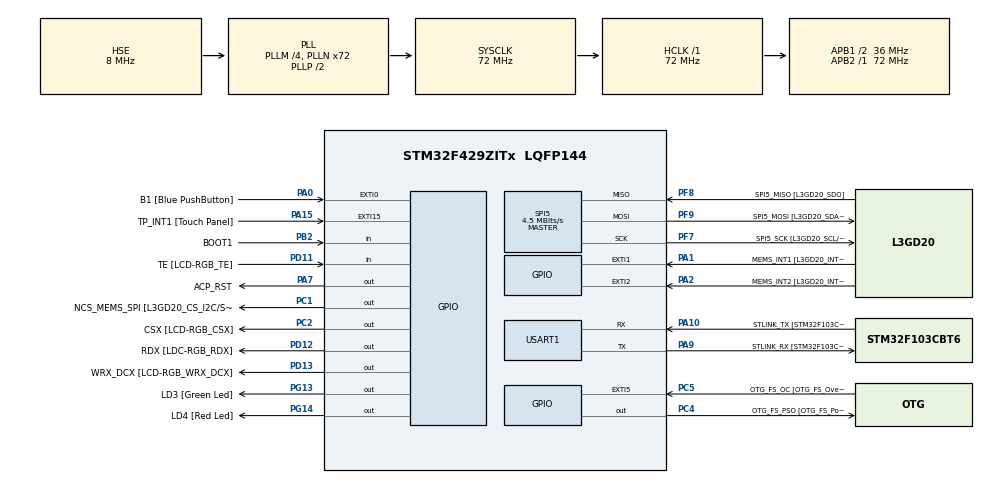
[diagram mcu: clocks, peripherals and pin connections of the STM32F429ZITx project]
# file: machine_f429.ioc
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Mcu.Family=STM32F4
Mcu.Name=STM32F429ZITx
Mcu.Package=LQFP144
NVIC.PriorityGroup=NVIC_PRIORITYGROUP_4
NVIC.USART1_IRQn=true\:0\:0\:false\:false\:true\:true\:true\:true
PA0/WKUP.GPIO_Label=B1 [Blue PushButton]
PA0/WKUP.GPIO_ModeDefaultEXTI=GPIO_MODE_EVT_RISING
PA0/WKUP.GPIO_PuPd=GPIO_NOPULL
PA0/WKUP.Signal=GPXTI0
PA1.GPIO_Label=MEMS_INT1 [L3GD20_INT1]
PA1.GPIO_ModeDefaultEXTI=GPIO_MODE_EVT_RISING
PA1.GPIO_PuPd=GPIO_NOPULL
PA1.Signal=GPXTI1
PA10.GPIO_Label=STLINK_TX [STM32F103CBT6_PA2]
PA10.Mode=Asynchronous
PA10.Signal=USART1_RX
PA11.GPIO_Label=R4
PA11.GPIO_Mode=GPIO_MODE_AF_PP
PA11.GPIO_PuPd=GPIO_NOPULL
PA11.GPIO_Speed=GPIO_SPEED_FREQ_LOW
PA11.Signal=LTDC_R4
PA12.GPIO_Label=R5
PA12.GPIO_Mode=GPIO_MODE_AF_PP
PA12.GPIO_PuPd=GPIO_NOPULL
PA12.GPIO_Speed=GPIO_SPEED_FREQ_LOW
PA12.Signal=LTDC_R5
PA13.GPIO_Label=SWDIO
PA13.Mode=Serial_Wire
PA13.Signal=SYS_JTMS-SWDIO
PA14.GPIO_Label=SWCLK
PA14.Mode=Serial_Wire
PA14.Signal=SYS_JTCK-SWCLK
PA15.GPIO_Label=TP_INT1 [Touch Panel]
PA15.GPIO_ModeDefaultEXTI=GPIO_MODE_EVT_RISING
PA15.GPIO_PuPd=GPIO_NOPULL
PA15.Signal=GPXTI15
PA2.GPIO_Label=MEMS_INT2 [L3GD20_INT2]
PA2.GPIO_ModeDefaultEXTI=GPIO_MODE_EVT_RISING
PA2.GPIO_PuPd=GPIO_NOPULL
PA2.Signal=GPXTI2
PA3.GPIO_Label=B5
PA3.GPIO_Mode=GPIO_MODE_AF_PP
PA3.GPIO_PuPd=GPIO_NOPULL
PA3.GPIO_Speed=GPIO_SPEED_FREQ_LOW
PA3.Signal=LTDC_B5
PA4.GPIO_Label=VSYNC
PA4.GPIO_Mode=GPIO_MODE_AF_PP
PA4.GPIO_PuPd=GPIO_NOPULL
PA4.GPIO_Speed=GPIO_SPEED_FREQ_LOW
PA4.Signal=LTDC_VSYNC
PA6.GPIO_Label=G2
PA6.GPIO_Mode=GPIO_MODE_AF_PP
PA6.GPIO_PuPd=GPIO_NOPULL
PA6.GPIO_Speed=GPIO_SPEED_FREQ_LOW
PA6.Signal=LTDC_G2
PA7.GPIO_Label=ACP_RST
PA7.GPIO_Mode=GPIO_MODE_OUTPUT_PP
PA7.GPIO_PuPd=GPIO_NOPULL
PA7.GPIO_Speed=GPIO_SPEED_FREQ_LOW
PA7.Signal=GPIO_Output
PA8.GPIO_Label=I2C3_SCL [ACP/RF_SCL]
PA8.GPIO_Mode=GPIO_MODE_AF_OD
PA8.GPIO_Pu=GPIO_PULLUP
PA8.GPIO_PuPd=GPIO_NOPULL
PA8.GPIO_Speed=GPIO_SPEED_FREQ_LOW
PA8.Signal=I2C3_SCL
PA9.GPIO_Label=STLINK_RX [STM32F103CBT6_PA3]
PA9.Mode=Asynchronous
PA9.Signal=USART1_TX
PB0.GPIO_Label=R3
PB0.GPIO_Mode=GPIO_MODE_AF_PP
PB0.GPIO_PuPd=GPIO_NOPULL
PB0.GPIO_Speed=GPIO_SPEED_FREQ_LOW
PB0.Signal=LTDC_R3
PB1.GPIO_Label=R6
PB1.GPIO_Mode=GPIO_MODE_AF_PP
PB1.GPIO_PuPd=GPIO_NOPULL
PB1.GPIO_Speed=GPIO_SPEED_FREQ_LOW
PB1.Signal=LTDC_R6
PB10.GPIO_Label=G4
PB10.GPIO_Mode=GPIO_MODE_AF_PP
PB10.GPIO_PuPd=GPIO_NOPULL
PB10.GPIO_Speed=GPIO_SPEED_FREQ_LOW
PB10.Signal=LTDC_G4
PB11.GPIO_Label=G5
PB11.GPIO_Mode=GPIO_MODE_AF_PP
PB11.GPIO_PuPd=GPIO_NOPULL
PB11.GPIO_Speed=GPIO_SPEED_FREQ_LOW
PB11.Signal=LTDC_G5
PB12.GPIO_Label=OTG_HS_ID
PB12.GPIO_Mode=GPIO_MODE_AF_PP
PB12.GPIO_PuPd=GPIO_NOPULL
PB12.GPIO_Speed=GPIO_SPEED_FREQ_LOW
PB12.Signal=USB_OTG_HS_ID
PB13.GPIO_Label=VBUS_HS
PB13.GPIO_Mode=GPIO_MODE_INPUT
PB13.GPIO_PuPd=GPIO_NOPULL
PB13.Signal=USB_OTG_HS_VBUS
PB14.GPIO_Label=OTG_HS_DM
PB14.GPIO_Mode=GPIO_MODE_AF_PP
PB14.GPIO_PuPd=GPIO_NOPULL
PB14.GPIO_Speed=GPIO_SPEED_FREQ_LOW
PB14.Signal=USB_OTG_HS_DM
PB15.GPIO_Label=OTG_HS_DP
PB15.GPIO_Mode=GPIO_MODE_AF_PP
PB15.GPIO_PuPd=GPIO_NOPULL
PB15.GPIO_Speed=GPIO_SPEED_FREQ_LOW
PB15.Signal=USB_OTG_HS_DP
PB2/BOOT1.GPIO_Label=BOOT1
PB2/BOOT1.GPIO_Mode=GPIO_MODE_INPUT
PB2/BOOT1.GPIO_PuPd=GPIO_NOPULL
PB2/BOOT1.Signal=GPIO_Input
PB5.GPIO_Label=SDCKE1
PB5.GPIO_Mode=GPIO_MODE_AF_PP
PB5.GPIO_PuPd=GPIO_NOPULL
PB5.GPIO_Speed=GPIO_SPEED_FREQ_VERY_HIGH
PB5.Signal=FMC_SDCKE1
PB6.GPIO_Label=SDNE1 [SDRAM_CS]
PB6.GPIO_Mode=GPIO_MODE_AF_PP
PB6.GPIO_PuPd=GPIO_NOPULL
PB6.GPIO_Speed=GPIO_SPEED_FREQ_VERY_HIGH
PB6.Signal=FMC_SDNE1
PB8.GPIO_Label=B6
PB8.GPIO_Mode=GPIO_MODE_AF_PP
PB8.GPIO_PuPd=GPIO_NOPULL
PB8.GPIO_Speed=GPIO_SPEED_FREQ_LOW
PB8.Signal=LTDC_B6
PB9.GPIO_Label=B7
PB9.GPIO_Mode=GPIO_MODE_AF_PP
PB9.GPIO_PuPd=GPIO_NOPULL
PB9.GPIO_Speed=GPIO_SPEED_FREQ_LOW
PB9.Signal=LTDC_B7
PC0.GPIO_Label=SDNWE
PC0.GPIO_Mode=GPIO_MODE_AF_PP
PC0.GPIO_PuPd=GPIO_NOPULL
PC0.GPIO_Speed=GPIO_SPEED_FREQ_VERY_HIGH
PC0.Signal=FMC_SDNWE
PC1.GPIO_Label=NCS_MEMS_SPI [L3GD20_CS_I2C/SPI]
PC1.GPIO_Mode=GPIO_MODE_OUTPUT_PP
PC1.GPIO_PuPd=GPIO_NOPULL
PC1.GPIO_Speed=GPIO_SPEED_FREQ_LOW
PC1.Signal=GPIO_Output
PC10.GPIO_Label=R2
PC10.GPIO_Mode=GPIO_MODE_AF_PP
PC10.GPIO_PuPd=GPIO_NOPULL
PC10.GPIO_Speed=GPIO_SPEED_FREQ_LOW
PC10.Signal=LTDC_R2
PC14/OSC32_IN.GPIO_Label=PC14-OSC32_IN
PC14/OSC32_IN.Signal=RCC_OSC32_IN
PC15/OSC32_OUT.GPIO_Label=PC15-OSC32_OUT
PC15/OSC32_OUT.Signal=RCC_OSC32_OUT
PC2.GPIO_Label=CSX [LCD-RGB_CSX]
PC2.GPIO_Mode=GPIO_MODE_OUTPUT_PP
PC2.GPIO_PuPd=GPIO_NOPULL
PC2.GPIO_Speed=GPIO_SPEED_FREQ_LOW
PC2.Signal=GPIO_Output
PC4.GPIO_Label=OTG_FS_PSO [OTG_FS_PowerSwitchOn]
PC4.GPIO_Mode=GPIO_MODE_OUTPUT_PP
PC4.GPIO_PuPd=GPIO_NOPULL
PC4.GPIO_Speed=GPIO_SPEED_FREQ_LOW
PC4.Signal=GPIO_Output
PC5.GPIO_Label=OTG_FS_OC [OTG_FS_OverCurrent]
PC5.GPIO_ModeDefaultEXTI=GPIO_MODE_EVT_RISING
PC5.Signal=GPXTI5
PC6.GPIO_Label=HSYNC
PC6.GPIO_Mode=GPIO_MODE_AF_PP
PC6.GPIO_PuPd=GPIO_NOPULL
PC6.GPIO_Speed=GPIO_SPEED_FREQ_LOW
PC6.Signal=LTDC_HSYNC
PC7.GPIO_Label=G6
PC7.GPIO_Mode=GPIO_MODE_AF_PP
PC7.GPIO_PuPd=GPIO_NOPULL
PC7.GPIO_Speed=GPIO_SPEED_FREQ_LOW
PC7.Signal=LTDC_G6
PC9.GPIO_Label=I2C3_SDA [ACP/RF_SDA]
PC9.GPIO_Mode=GPIO_MODE_AF_OD
PC9.GPIO_Pu=GPIO_PULLUP
PC9.GPIO_PuPd=GPIO_NOPULL
PC9.GPIO_Speed=GPIO_SPEED_FREQ_LOW
PC9.Signal=I2C3_SDA
PD0.GPIO_Label=D2
PD0.GPIO_Mode=GPIO_MODE_AF_PP
PD0.GPIO_PuPd=GPIO_NOPULL
PD0.GPIO_Speed=GPIO_SPEED_FREQ_VERY_HIGH
PD0.Signal=FMC_D2_DA2
PD1.GPIO_Label=D3
PD1.GPIO_Mode=GPIO_MODE_AF_PP
PD1.GPIO_PuPd=GPIO_NOPULL
PD1.GPIO_Speed=GPIO_SPEED_FREQ_VERY_HIGH
PD1.Signal=FMC_D3_DA3
PD10.GPIO_Label=D15
PD10.GPIO_Mode=GPIO_MODE_AF_PP
PD10.GPIO_PuPd=GPIO_NOPULL
PD10.GPIO_Speed=GPIO_SPEED_FREQ_VERY_HIGH
PD10.Signal=FMC_D15_DA15
PD11.GPIO_Label=TE [LCD-RGB_TE]
PD11.GPIO_Mode=GPIO_MODE_INPUT
PD11.GPIO_PuPd=GPIO_NOPULL
PD11.Signal=GPIO_Input
PD12.GPIO_Label=RDX [LDC-RGB_RDX]
PD12.GPIO_Mode=GPIO_MODE_OUTPUT_PP
PD12.GPIO_PuPd=GPIO_NOPULL
PD12.GPIO_Speed=GPIO_SPEED_FREQ_LOW
PD12.Signal=GPIO_Output
PD13.GPIO_Label=WRX_DCX [LCD-RGB_WRX_DCX]
PD13.GPIO_Mode=GPIO_MODE_OUTPUT_PP
PD13.GPIO_PuPd=GPIO_NOPULL
PD13.GPIO_Speed=GPIO_SPEED_FREQ_LOW
PD13.Signal=GPIO_Output
PD14.GPIO_Label=D0
PD14.GPIO_Mode=GPIO_MODE_AF_PP
PD14.GPIO_PuPd=GPIO_NOPULL
PD14.GPIO_Speed=GPIO_SPEED_FREQ_VERY_HIGH
PD14.Signal=FMC_D0_DA0
PD15.GPIO_Label=D1
PD15.GPIO_Mode=GPIO_MODE_AF_PP
PD15.GPIO_PuPd=GPIO_NOPULL
PD15.GPIO_Speed=GPIO_SPEED_FREQ_VERY_HIGH
PD15.Signal=FMC_D1_DA1
PD3.GPIO_Label=G7
PD3.GPIO_Mode=GPIO_MODE_AF_PP
PD3.GPIO_PuPd=GPIO_NOPULL
PD3.GPIO_Speed=GPIO_SPEED_FREQ_LOW
PD3.Signal=LTDC_G7
PD6.GPIO_Label=B2
PD6.GPIO_Mode=GPIO_MODE_AF_PP
PD6.GPIO_PuPd=GPIO_NOPULL
PD6.GPIO_Speed=GPIO_SPEED_FREQ_LOW
PD6.Signal=LTDC_B2
PD8.GPIO_Label=D13
PD8.GPIO_Mode=GPIO_MODE_AF_PP
PD8.GPIO_PuPd=GPIO_NOPULL
PD8.GPIO_Speed=GPIO_SPEED_FREQ_VERY_HIGH
PD8.Signal=FMC_D13_DA13
PD9.GPIO_Label=D14
PD9.GPIO_Mode=GPIO_MODE_AF_PP
PD9.GPIO_PuPd=GPIO_NOPULL
PD9.GPIO_Speed=GPIO_SPEED_FREQ_VERY_HIGH
PD9.Signal=FMC_D14_DA14
PE0.GPIO_Label=NBL0 [SDRAM_LDQM]
PE0.GPIO_Mode=GPIO_MODE_AF_PP
PE0.GPIO_PuPd=GPIO_NOPULL
PE0.GPIO_Speed=GPIO_SPEED_FREQ_VERY_HIGH
PE0.Signal=FMC_NBL0
PE1.GPIO_Label=NBL1 [SDRAM_UDQM]
PE1.GPIO_Mode=GPIO_MODE_AF_PP
PE1.GPIO_PuPd=GPIO_NOPULL
PE1.GPIO_Speed=GPIO_SPEED_FREQ_VERY_HIGH
PE1.Signal=FMC_NBL1
PE10.GPIO_Label=D7
PE10.GPIO_Mode=GPIO_MODE_AF_PP
PE10.GPIO_PuPd=GPIO_NOPULL
PE10.GPIO_Speed=GPIO_SPEED_FREQ_VERY_HIGH
PE10.Signal=FMC_D7_DA7
PE11.GPIO_Label=D8
PE11.GPIO_Mode=GPIO_MODE_AF_PP
PE11.GPIO_PuPd=GPIO_NOPULL
PE11.GPIO_Speed=GPIO_SPEED_FREQ_VERY_HIGH
PE11.Signal=FMC_D8_DA8
PE12.GPIO_Label=D9
PE12.GPIO_Mode=GPIO_MODE_AF_PP
PE12.GPIO_PuPd=GPIO_NOPULL
PE12.GPIO_Speed=GPIO_SPEED_FREQ_VERY_HIGH
PE12.Signal=FMC_D9_DA9
PE13.GPIO_Label=D10
PE13.GPIO_Mode=GPIO_MODE_AF_PP
PE13.GPIO_PuPd=GPIO_NOPULL
PE13.GPIO_Speed=GPIO_SPEED_FREQ_VERY_HIGH
PE13.Signal=FMC_D10_DA10
PE14.GPIO_Label=D11
PE14.GPIO_Mode=GPIO_MODE_AF_PP
PE14.GPIO_PuPd=GPIO_NOPULL
PE14.GPIO_Speed=GPIO_SPEED_FREQ_VERY_HIGH
PE14.Signal=FMC_D11_DA11
PE15.GPIO_Label=D12
PE15.GPIO_Mode=GPIO_MODE_AF_PP
PE15.GPIO_PuPd=GPIO_NOPULL
PE15.GPIO_Speed=GPIO_SPEED_FREQ_VERY_HIGH
PE15.Signal=FMC_D12_DA12
PE7.GPIO_Label=D4
PE7.GPIO_Mode=GPIO_MODE_AF_PP
PE7.GPIO_PuPd=GPIO_NOPULL
PE7.GPIO_Speed=GPIO_SPEED_FREQ_VERY_HIGH
PE7.Signal=FMC_D4_DA4
PE8.GPIO_Label=D5
PE8.GPIO_Mode=GPIO_MODE_AF_PP
PE8.GPIO_PuPd=GPIO_NOPULL
PE8.GPIO_Speed=GPIO_SPEED_FREQ_VERY_HIGH
PE8.Signal=FMC_D5_DA5
PE9.GPIO_Label=D6
PE9.GPIO_Mode=GPIO_MODE_AF_PP
PE9.GPIO_PuPd=GPIO_NOPULL
PE9.GPIO_Speed=GPIO_SPEED_FREQ_VERY_HIGH
PE9.Signal=FMC_D6_DA6
PF0.GPIO_Label=A0
PF0.GPIO_Mode=GPIO_MODE_AF_PP
PF0.GPIO_PuPd=GPIO_NOPULL
PF0.GPIO_Speed=GPIO_SPEED_FREQ_VERY_HIGH
PF0.Signal=FMC_A0
PF1.GPIO_Label=A1
PF1.GPIO_Mode=GPIO_MODE_AF_PP
PF1.GPIO_PuPd=GPIO_NOPULL
PF1.GPIO_Speed=GPIO_SPEED_FREQ_VERY_HIGH
PF1.Signal=FMC_A1
PF10.GPIO_Label=ENABLE [LCD-RGB_ENABLE]
PF10.GPIO_Mode=GPIO_MODE_AF_PP
PF10.GPIO_PuPd=GPIO_NOPULL
PF10.GPIO_Speed=GPIO_SPEED_FREQ_LOW
PF10.Signal=LTDC_DE
PF11.GPIO_Label=SDNRAS
PF11.GPIO_Mode=GPIO_MODE_AF_PP
PF11.GPIO_PuPd=GPIO_NOPULL
PF11.GPIO_Speed=GPIO_SPEED_FREQ_VERY_HIGH
PF11.Signal=FMC_SDNRAS
PF12.GPIO_Label=A6
PF12.GPIO_Mode=GPIO_MODE_AF_PP
PF12.GPIO_PuPd=GPIO_NOPULL
PF12.GPIO_Speed=GPIO_SPEED_FREQ_VERY_HIGH
PF12.Signal=FMC_A6
PF13.GPIO_Label=A7
PF13.GPIO_Mode=GPIO_MODE_AF_PP
PF13.GPIO_PuPd=GPIO_NOPULL
PF13.GPIO_Speed=GPIO_SPEED_FREQ_VERY_HIGH
PF13.Signal=FMC_A7
PF14.GPIO_Label=A8
PF14.GPIO_Mode=GPIO_MODE_AF_PP
PF14.GPIO_PuPd=GPIO_NOPULL
PF14.GPIO_Speed=GPIO_SPEED_FREQ_VERY_HIGH
PF14.Signal=FMC_A8
PF15.GPIO_Label=A9
PF15.GPIO_Mode=GPIO_MODE_AF_PP
PF15.GPIO_PuPd=GPIO_NOPULL
PF15.GPIO_Speed=GPIO_SPEED_FREQ_VERY_HIGH
PF15.Signal=FMC_A9
PF2.GPIO_Label=A2
PF2.GPIO_Mode=GPIO_MODE_AF_PP
PF2.GPIO_PuPd=GPIO_NOPULL
PF2.GPIO_Speed=GPIO_SPEED_FREQ_VERY_HIGH
PF2.Signal=FMC_A2
PF3.GPIO_Label=A3
PF3.GPIO_Mode=GPIO_MODE_AF_PP
PF3.GPIO_PuPd=GPIO_NOPULL
PF3.GPIO_Speed=GPIO_SPEED_FREQ_VERY_HIGH
PF3.Signal=FMC_A3
PF4.GPIO_Label=A4
PF4.GPIO_Mode=GPIO_MODE_AF_PP
PF4.GPIO_PuPd=GPIO_NOPULL
PF4.GPIO_Speed=GPIO_SPEED_FREQ_VERY_HIGH
PF4.Signal=FMC_A4
PF5.GPIO_Label=A5
PF5.GPIO_Mode=GPIO_MODE_AF_PP
PF5.GPIO_PuPd=GPIO_NOPULL
PF5.GPIO_Speed=GPIO_SPEED_FREQ_VERY_HIGH
PF5.Signal=FMC_A5
PF7.GPIO_Label=SPI5_SCK [L3GD20_SCL/SPC]
PF7.GPIO_Mode=GPIO_MODE_AF_PP
PF7.GPIO_PuPd=GPIO_NOPULL
PF7.GPIO_Speed=GPIO_SPEED_FREQ_LOW
PF7.Mode=Full_Duplex_Master
PF7.Signal=SPI5_SCK
PF8.GPIO_Label=SPI5_MISO [L3GD20_SDO]
PF8.GPIO_Mode=GPIO_MODE_AF_PP
PF8.GPIO_PuPd=GPIO_NOPULL
PF8.GPIO_Speed=GPIO_SPEED_FREQ_LOW
PF8.Mode=Full_Duplex_Master
PF8.Signal=SPI5_MISO
PF9.GPIO_Label=SPI5_MOSI [L3GD20_SDA/SDI/SDO]
PF9.GPIO_Mode=GPIO_MODE_AF_PP
PF9.GPIO_PuPd=GPIO_NOPULL
PF9.GPIO_Speed=GPIO_SPEED_FREQ_LOW
PF9.Mode=Full_Duplex_Master
PF9.Signal=SPI5_MOSI
PG0.GPIO_Label=A10
PG0.GPIO_Mode=GPIO_MODE_AF_PP
PG0.GPIO_PuPd=GPIO_NOPULL
PG0.GPIO_Speed=GPIO_SPEED_FREQ_VERY_HIGH
PG0.Signal=FMC_A10
PG1.GPIO_Label=A11
PG1.GPIO_Mode=GPIO_MODE_AF_PP
PG1.GPIO_PuPd=GPIO_NOPULL
PG1.GPIO_Speed=GPIO_SPEED_FREQ_VERY_HIGH
PG1.Signal=FMC_A11
PG10.GPIO_Label=G3
PG10.GPIO_Mode=GPIO_MODE_AF_PP
PG10.GPIO_PuPd=GPIO_NOPULL
PG10.GPIO_Speed=GPIO_SPEED_FREQ_LOW
PG10.Signal=LTDC_G3
PG11.GPIO_Label=B3
PG11.GPIO_Mode=GPIO_MODE_AF_PP
PG11.GPIO_PuPd=GPIO_NOPULL
PG11.GPIO_Speed=GPIO_SPEED_FREQ_LOW
PG11.Signal=LTDC_B3
PG12.GPIO_Label=B4
PG12.GPIO_Mode=GPIO_MODE_AF_PP
PG12.GPIO_PuPd=GPIO_NOPULL
PG12.GPIO_Speed=GPIO_SPEED_FREQ_LOW
PG12.Signal=LTDC_B4
PG13.GPIO_Label=LD3 [Green Led]
PG13.GPIO_Mode=GPIO_MODE_OUTPUT_PP
PG13.GPIO_PuPd=GPIO_NOPULL
PG13.GPIO_Speed=GPIO_SPEED_FREQ_LOW
PG13.Signal=GPIO_Output
PG14.GPIO_Label=LD4 [Red Led]
PG14.GPIO_Mode=GPIO_MODE_OUTPUT_PP
PG14.GPIO_PuPd=GPIO_NOPULL
PG14.GPIO_Speed=GPIO_SPEED_FREQ_LOW
PG14.Signal=GPIO_Output
PG15.GPIO_Label=SDNCAS
PG15.GPIO_Mode=GPIO_MODE_AF_PP
PG15.GPIO_PuPd=GPIO_NOPULL
PG15.GPIO_Speed=GPIO_SPEED_FREQ_VERY_HIGH
PG15.Signal=FMC_SDNCAS
PG4.GPIO_Label=BA0
PG4.GPIO_Mode=GPIO_MODE_AF_PP
PG4.GPIO_PuPd=GPIO_NOPULL
PG4.GPIO_Speed=GPIO_SPEED_FREQ_VERY_HIGH
PG4.Signal=FMC_A14_BA0
PG5.GPIO_Label=BA1
PG5.GPIO_Mode=GPIO_MODE_AF_PP
PG5.GPIO_PuPd=GPIO_NOPULL
PG5.GPIO_Speed=GPIO_SPEED_FREQ_VERY_HIGH
PG5.Signal=FMC_A15_BA1
PG6.GPIO_Label=R7
PG6.GPIO_Mode=GPIO_MODE_AF_PP
PG6.GPIO_PuPd=GPIO_NOPULL
PG6.GPIO_Speed=GPIO_SPEED_FREQ_LOW
PG6.Signal=LTDC_R7
PG7.GPIO_Label=DOTCLK [LCT-RGB_DOTCLK]
PG7.GPIO_Mode=GPIO_MODE_AF_PP
PG7.GPIO_PuPd=GPIO_NOPULL
PG7.GPIO_Speed=GPIO_SPEED_FREQ_LOW
PG7.Signal=LTDC_CLK
PG8.GPIO_Label=SDCLK
PG8.GPIO_Mode=GPIO_MODE_AF_PP
PG8.GPIO_PuPd=GPIO_NOPULL
PG8.GPIO_Speed=GPIO_SPEED_FREQ_VERY_HIGH
PG8.Signal=FMC_SDCLK
PH0/OSC_IN.GPIO_Label=PH0-OSC_IN
PH0/OSC_IN.Mode=HSE-External-Oscillator
PH0/OSC_IN.Signal=RCC_OSC_IN
PH1/OSC_OUT.GPIO_Label=PH1-OSC_OUT
PH1/OSC_OUT.Mode=HSE-External-Oscillator
PH1/OSC_OUT.Signal=RCC_OSC_OUT
ProjectManager.HeapSize=0x200
ProjectManager.StackSize=0x400
ProjectManager.TargetToolchain=STM32CubeIDE
RCC.48MHZClocksFreq_Value=48000000
RCC.AHBFreq_Value=72000000
RCC.APB1CLKDivider=RCC_HCLK_DIV2
RCC.APB1Freq_Value=36000000
RCC.APB1TimFreq_Value=72000000
RCC.APB2Freq_Value=72000000
RCC.APB2TimFreq_Value=72000000
RCC.CortexFreq_Value=72000000
RCC.HCLKFreq_Value=72000000
RCC.HSE_VALUE=8000000
RCC.HSI_VALUE=16000000
RCC.LSE_VALUE=32768
RCC.PLLM=4
RCC.PLLN=72
RCC.PLLQ=3
RCC.PLLSAIN=50
RCC.PLLSourceVirtual=RCC_PLLSOURCE_HSE
RCC.SYSCLKFreq_VALUE=72000000
RCC.SYSCLKSource=RCC_SYSCLKSOURCE_PLLCLK
RCC.VCOOutputFreq_Value=144000000
SH.FMC_A0.0=FMC_A0
SH.FMC_A1.0=FMC_A1
SH.FMC_A10.0=FMC_A10
SH.FMC_A11.0=FMC_A11
SH.FMC_A14_BA0.0=FMC_BA0
SH.FMC_A15_BA1.0=FMC_BA1
SH.FMC_A2.0=FMC_A2
SH.FMC_A3.0=FMC_A3
SH.FMC_A4.0=FMC_A4
SH.FMC_A5.0=FMC_A5
SH.FMC_A6.0=FMC_A6
SH.FMC_A7.0=FMC_A7
SH.FMC_A8.0=FMC_A8
SH.FMC_A9.0=FMC_A9
SH.FMC_D0_DA0.0=FMC_D0
SH.FMC_D10_DA10.0=FMC_D10
SH.FMC_D11_DA11.0=FMC_D11
SH.FMC_D12_DA12.0=FMC_D12
SH.FMC_D13_DA13.0=FMC_D13
SH.FMC_D14_DA14.0=FMC_D14
SH.FMC_D15_DA15.0=FMC_D15
SH.FMC_D1_DA1.0=FMC_D1
SH.FMC_D2_DA2.0=FMC_D2
SH.FMC_D3_DA3.0=FMC_D3
SH.FMC_D4_DA4.0=FMC_D4
SH.FMC_D5_DA5.0=FMC_D5
SH.FMC_D6_DA6.0=FMC_D6
SH.FMC_D7_DA7.0=FMC_D7
SH.FMC_D8_DA8.0=FMC_D8
SH.FMC_D9_DA9.0=FMC_D9
SH.FMC_NBL0.0=FMC_NBL0
SH.FMC_NBL1.0=FMC_NBL1
SH.FMC_SDCLK.0=FMC_SDCLK
SH.FMC_SDNCAS.0=FMC_SDNCAS
SH.FMC_SDNRAS.0=FMC_SDNRAS
SH.FMC_SDNWE.0=FMC_SDNWE
SPI5.BaudRatePrescaler=SPI_BAUDRATEPRESCALER_16
SPI5.CalculateBaudRate=4.5 MBits/s
SPI5.Direction=SPI_DIRECTION_2LINES
SPI5.Mode=SPI_MODE_MASTER
SPI5.VirtualType=VM_MASTER
USART1.VirtualMode=VM_ASYNC
VP_TIM1_VS_ClockSourceINT.Mode=Internal
board=STM32F429I-DISC1

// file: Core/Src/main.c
/* USER CODE BEGIN Header */
/**
  ******************************************************************************
  * @file           : main.c
  * @brief          : Main program body
  ******************************************************************************
  * @attention
  *
  * Copyright (c) 2025 STMicroelectronics.
  * All rights reserved.
  *
  * This software is licensed under terms that can be found in the LICENSE file
  * in the root directory of this software component.
  * If no LICENSE file comes with this software, it is provided AS-IS.
  *
  ******************************************************************************
  */
/* USER CODE END Header */
#include "main.h"

/* USER CODE BEGIN Includes */
#include <math.h>
#include <string.h>
#include <stdint.h>
/* USER CODE END Includes */

SPI_HandleTypeDef hspi5;

TIM_HandleTypeDef htim1;

UART_HandleTypeDef huart1;

void SystemClock_Config(void);
static void MX_GPIO_Init(void);
static void MX_SPI5_Init(void);
static void MX_TIM1_Init(void);
static void MX_USART1_UART_Init(void);

/* USER CODE BEGIN 0 */
typedef struct
{
  float temp_inlet;
  float temp_outlet;
  float pressure_bar;
  float motor_rpm;

  uint8_t estop_active;
  uint8_t door_closed;
  uint8_t alarm_active;

  uint32_t uptime_ms;
  uint16_t alarm_code;
} MachineState_t;

MachineState_t g_machine;
#define FRAME_STX 0xAA
#define FRAME_VERSION 0x01

// total frame size = 19 bytes
#define FRAME_SIZE 19

static uint8_t g_tx_frame[FRAME_SIZE];

static uint8_t calc_checksum(const uint8_t *data, uint8_t len)
{
  uint16_t sum = 0;
  for (uint8_t i = 0; i < len; i++)
  {
    sum += data[i];
  }
  return (uint8_t)(sum & 0xFF);
}

static void build_machine_frame(void)
{
  int16_t temp_in_q1  = (int16_t)(g_machine.temp_inlet  * 10.0f);
  int16_t temp_out_q1 = (int16_t)(g_machine.temp_outlet * 10.0f);
  uint16_t press_q2   = (uint16_t)(g_machine.pressure_bar * 100.0f);
  uint16_t rpm_u16    = (uint16_t)(g_machine.motor_rpm);

  uint8_t flags = 0;
  if (g_machine.estop_active) flags |= (1 << 0);
  if (g_machine.door_closed)  flags |= (1 << 1);
  if (g_machine.alarm_active) flags |= (1 << 2);

  uint16_t alarm = g_machine.alarm_code;
  uint32_t uptime = g_machine.uptime_ms;

  uint8_t idx = 0;

  g_tx_frame[idx++] = FRAME_STX;
  g_tx_frame[idx++] = FRAME_SIZE - 3; // LEN = bytes from VERSION to last data (excluding STX, LEN, CHK)
  g_tx_frame[idx++] = FRAME_VERSION;

  // temp_in (int16)
  g_tx_frame[idx++] = (uint8_t)(temp_in_q1 & 0xFF);
  g_tx_frame[idx++] = (uint8_t)((temp_in_q1 >> 8) & 0xFF);

  // temp_out (int16)
  g_tx_frame[idx++] = (uint8_t)(temp_out_q1 & 0xFF);
  g_tx_frame[idx++] = (uint8_t)((temp_out_q1 >> 8) & 0xFF);

  // pressure (uint16)
  g_tx_frame[idx++] = (uint8_t)(press_q2 & 0xFF);
  g_tx_frame[idx++] = (uint8_t)((press_q2 >> 8) & 0xFF);

  // rpm (uint16)
  g_tx_frame[idx++] = (uint8_t)(rpm_u16 & 0xFF);
  g_tx_frame[idx++] = (uint8_t)((rpm_u16 >> 8) & 0xFF);

  // flags (uint8)
  g_tx_frame[idx++] = flags;

  // alarm (uint16)
  g_tx_frame[idx++] = (uint8_t)(alarm & 0xFF);
  g_tx_frame[idx++] = (uint8_t)((alarm >> 8) & 0xFF);

  // uptime (uint32)
  g_tx_frame[idx++] = (uint8_t)(uptime & 0xFF);
  g_tx_frame[idx++] = (uint8_t)((uptime >> 8) & 0xFF);
  g_tx_frame[idx++] = (uint8_t)((uptime >> 16) & 0xFF);
  g_tx_frame[idx++] = (uint8_t)((uptime >> 24) & 0xFF);

  // checksum over all previous bytes (except checksum itself)
  uint8_t chk = calc_checksum(g_tx_frame, FRAME_SIZE - 1);
  g_tx_frame[idx++] = chk;

  // idx should now be FRAME_SIZE
}
static void send_machine_frame(void)
{
  build_machine_frame();
  // change &huart1 if your UART is different
  HAL_UART_Transmit(&huart1, g_tx_frame, FRAME_SIZE, 100);
}

/* USER CODE END 0 */

int main(void)
{

  /* MCU Configuration--------------------------------------------------------*/

  /* Reset of all peripherals, Initializes the Flash interface and the Systick. */
  HAL_Init();

  /* Configure the system clock */
  SystemClock_Config();

  /* Initialize all configured peripherals */
  MX_GPIO_Init();
  MX_SPI5_Init();
  MX_TIM1_Init();
  MX_USART1_UART_Init();
  /* USER CODE BEGIN 2 */
  g_machine.temp_inlet   = 20.0f;
  g_machine.temp_outlet  = 22.0f;
  g_machine.pressure_bar = 1.0f;
  g_machine.motor_rpm    = 0.0f;

  g_machine.estop_active = 0;
  g_machine.door_closed  = 1;
  g_machine.alarm_active = 0;

  g_machine.uptime_ms    = 0;
  g_machine.alarm_code   = 0;

  /* USER CODE END 2 */

  /* Infinite loop */
  /* USER CODE BEGIN WHILE */
  uint32_t last_tick = HAL_GetTick();

  while (1)
  {
    /* USER CODE END WHILE */

    /* USER CODE BEGIN 3 */
	  uint32_t now = HAL_GetTick();
	    uint32_t dt  = now - last_tick;

	    if (dt >= 100) // update every 100 ms
	    {
	      last_tick = now;
	      g_machine.uptime_ms += dt;

	      // Fake temp_inlet: slowly increasing up to 60°C then go down
	      static int direction = 1;
	      g_machine.temp_inlet += 0.1f * direction;
	      if (g_machine.temp_inlet > 60.0f) direction = -1;
	      if (g_machine.temp_inlet < 20.0f) direction =  1;

	      // temp_outlet follows inlet with small offset
	      g_machine.temp_outlet = g_machine.temp_inlet + 2.0f;

	      // Pressure: oscillate between 0.8 and 1.2 bar
	      static float phase = 0.0f;
	      phase += 0.1f;
	      if (phase > 6.283f) phase = 0.0f;
	      g_machine.pressure_bar = 1.0f + 0.2f * sinf(phase);

	      // Motor RPM: ramp up and down between 0 and 3000
	      static int rpm_dir = 1;
	      g_machine.motor_rpm += 50.0f * rpm_dir;
	      if (g_machine.motor_rpm > 3000.0f) rpm_dir = -1;
	      if (g_machine.motor_rpm < 0.0f)    rpm_dir =  1;

	      // Simulate an alarm every ~10 seconds
	      if ((g_machine.uptime_ms / 1000) % 10 == 0)
	      {
	        g_machine.alarm_active = 1;
	        g_machine.alarm_code   = 101; // e.g. "Overtemperature"
	      }
	      else
	      {
	        g_machine.alarm_active = 0;
	        g_machine.alarm_code   = 0;
	      }

	      // Example digital change: door open for 3 seconds every 15 seconds
	      uint32_t seconds = g_machine.uptime_ms / 1000;
	      if ((seconds % 15) < 3)
	        g_machine.door_closed = 0;
	      else
	        g_machine.door_closed = 1;

	      send_machine_frame();

	      // Toggle LED at each update to see life
	      HAL_GPIO_TogglePin(GPIOG, GPIO_PIN_13);
	    }

  }
  /* USER CODE END 3 */
}

void SystemClock_Config(void)
{
  RCC_OscInitTypeDef RCC_OscInitStruct = {0};
  RCC_ClkInitTypeDef RCC_ClkInitStruct = {0};

  /** Configure the main internal regulator output voltage
  */
  __HAL_RCC_PWR_CLK_ENABLE();
  __HAL_PWR_VOLTAGESCALING_CONFIG(PWR_REGULATOR_VOLTAGE_SCALE3);

  /** Initializes the RCC Oscillators according to the specified parameters
  * in the RCC_OscInitTypeDef structure.
  */
  RCC_OscInitStruct.OscillatorType = RCC_OSCILLATORTYPE_HSE;
  RCC_OscInitStruct.HSEState = RCC_HSE_ON;
  RCC_OscInitStruct.PLL.PLLState = RCC_PLL_ON;
  RCC_OscInitStruct.PLL.PLLSource = RCC_PLLSOURCE_HSE;
  RCC_OscInitStruct.PLL.PLLM = 4;
  RCC_OscInitStruct.PLL.PLLN = 72;
  RCC_OscInitStruct.PLL.PLLP = RCC_PLLP_DIV2;
  RCC_OscInitStruct.PLL.PLLQ = 3;
  if (HAL_RCC_OscConfig(&RCC_OscInitStruct) != HAL_OK)
  {
    Error_Handler();
  }

  /** Initializes the CPU, AHB and APB buses clocks
  */
  RCC_ClkInitStruct.ClockType = RCC_CLOCKTYPE_HCLK|RCC_CLOCKTYPE_SYSCLK
                              |RCC_CLOCKTYPE_PCLK1|RCC_CLOCKTYPE_PCLK2;
  RCC_ClkInitStruct.SYSCLKSource = RCC_SYSCLKSOURCE_PLLCLK;
  RCC_ClkInitStruct.AHBCLKDivider = RCC_SYSCLK_DIV1;
  RCC_ClkInitStruct.APB1CLKDivider = RCC_HCLK_DIV2;
  RCC_ClkInitStruct.APB2CLKDivider = RCC_HCLK_DIV1;

  if (HAL_RCC_ClockConfig(&RCC_ClkInitStruct, FLASH_LATENCY_2) != HAL_OK)
  {
    Error_Handler();
  }
}

static void MX_SPI5_Init(void)
{

  /* SPI5 parameter configuration*/
  hspi5.Instance = SPI5;
  hspi5.Init.Mode = SPI_MODE_MASTER;
  hspi5.Init.Direction = SPI_DIRECTION_2LINES;
  hspi5.Init.DataSize = SPI_DATASIZE_8BIT;
  hspi5.Init.CLKPolarity = SPI_POLARITY_LOW;
  hspi5.Init.CLKPhase = SPI_PHASE_1EDGE;
  hspi5.Init.NSS = SPI_NSS_SOFT;
  hspi5.Init.BaudRatePrescaler = SPI_BAUDRATEPRESCALER_16;
  hspi5.Init.FirstBit = SPI_FIRSTBIT_MSB;
  hspi5.Init.TIMode = SPI_TIMODE_DISABLE;
  hspi5.Init.CRCCalculation = SPI_CRCCALCULATION_DISABLE;
  hspi5.Init.CRCPolynomial = 10;
  if (HAL_SPI_Init(&hspi5) != HAL_OK)
  {
    Error_Handler();
  }

}

static void MX_TIM1_Init(void)
{

  TIM_ClockConfigTypeDef sClockSourceConfig = {0};
  TIM_MasterConfigTypeDef sMasterConfig = {0};

  htim1.Instance = TIM1;
  htim1.Init.Prescaler = 0;
  htim1.Init.CounterMode = TIM_COUNTERMODE_UP;
  htim1.Init.Period = 65535;
  htim1.Init.ClockDivision = TIM_CLOCKDIVISION_DIV1;
  htim1.Init.RepetitionCounter = 0;
  htim1.Init.AutoReloadPreload = TIM_AUTORELOAD_PRELOAD_DISABLE;
  if (HAL_TIM_Base_Init(&htim1) != HAL_OK)
  {
    Error_Handler();
  }
  sClockSourceConfig.ClockSource = TIM_CLOCKSOURCE_INTERNAL;
  if (HAL_TIM_ConfigClockSource(&htim1, &sClockSourceConfig) != HAL_OK)
  {
    Error_Handler();
  }
  sMasterConfig.MasterOutputTrigger = TIM_TRGO_RESET;
  sMasterConfig.MasterSlaveMode = TIM_MASTERSLAVEMODE_DISABLE;
  if (HAL_TIMEx_MasterConfigSynchronization(&htim1, &sMasterConfig) != HAL_OK)
  {
    Error_Handler();
  }

}

static void MX_USART1_UART_Init(void)
{

  huart1.Instance = USART1;
  huart1.Init.BaudRate = 115200;
  huart1.Init.WordLength = UART_WORDLENGTH_8B;
  huart1.Init.StopBits = UART_STOPBITS_1;
  huart1.Init.Parity = UART_PARITY_NONE;
  huart1.Init.Mode = UART_MODE_TX_RX;
  huart1.Init.HwFlowCtl = UART_HWCONTROL_NONE;
  huart1.Init.OverSampling = UART_OVERSAMPLING_16;
  if (HAL_UART_Init(&huart1) != HAL_OK)
  {
    Error_Handler();
  }

}

static void MX_GPIO_Init(void)
{
  GPIO_InitTypeDef GPIO_InitStruct = {0};

  /* GPIO Ports Clock Enable */
  __HAL_RCC_GPIOC_CLK_ENABLE();
  __HAL_RCC_GPIOF_CLK_ENABLE();
  __HAL_RCC_GPIOH_CLK_ENABLE();
  __HAL_RCC_GPIOA_CLK_ENABLE();
  __HAL_RCC_GPIOB_CLK_ENABLE();
  __HAL_RCC_GPIOG_CLK_ENABLE();
  __HAL_RCC_GPIOE_CLK_ENABLE();
  __HAL_RCC_GPIOD_CLK_ENABLE();

  /*Configure GPIO pin Output Level */
  HAL_GPIO_WritePin(GPIOC, NCS_MEMS_SPI_Pin|CSX_Pin|OTG_FS_PSO_Pin, GPIO_PIN_RESET);

  /*Configure GPIO pin Output Level */
  HAL_GPIO_WritePin(ACP_RST_GPIO_Port, ACP_RST_Pin, GPIO_PIN_RESET);

  /*Configure GPIO pin Output Level */
  HAL_GPIO_WritePin(GPIOD, RDX_Pin|WRX_DCX_Pin, GPIO_PIN_RESET);

  /*Configure GPIO pin Output Level */
  HAL_GPIO_WritePin(GPIOG, LD3_Pin|LD4_Pin, GPIO_PIN_RESET);

  /*Configure GPIO pins : A0_Pin A1_Pin A2_Pin A3_Pin
                           A4_Pin A5_Pin SDNRAS_Pin A6_Pin
                           A7_Pin A8_Pin A9_Pin */
  GPIO_InitStruct.Pin = A0_Pin|A1_Pin|A2_Pin|A3_Pin
                          |A4_Pin|A5_Pin|SDNRAS_Pin|A6_Pin
                          |A7_Pin|A8_Pin|A9_Pin;
  GPIO_InitStruct.Mode = GPIO_MODE_AF_PP;
  GPIO_InitStruct.Pull = GPIO_NOPULL;
  GPIO_InitStruct.Speed = GPIO_SPEED_FREQ_VERY_HIGH;
  GPIO_InitStruct.Alternate = GPIO_AF12_FMC;
  HAL_GPIO_Init(GPIOF, &GPIO_InitStruct);

  /*Configure GPIO pin : ENABLE_Pin */
  GPIO_InitStruct.Pin = ENABLE_Pin;
  GPIO_InitStruct.Mode = GPIO_MODE_AF_PP;
  GPIO_InitStruct.Pull = GPIO_NOPULL;
  GPIO_InitStruct.Speed = GPIO_SPEED_FREQ_LOW;
  GPIO_InitStruct.Alternate = GPIO_AF14_LTDC;
  HAL_GPIO_Init(ENABLE_GPIO_Port, &GPIO_InitStruct);

  /*Configure GPIO pin : SDNWE_Pin */
  GPIO_InitStruct.Pin = SDNWE_Pin;
  GPIO_InitStruct.Mode = GPIO_MODE_AF_PP;
  GPIO_InitStruct.Pull = GPIO_NOPULL;
  GPIO_InitStruct.Speed = GPIO_SPEED_FREQ_VERY_HIGH;
  GPIO_InitStruct.Alternate = GPIO_AF12_FMC;
  HAL_GPIO_Init(SDNWE_GPIO_Port, &GPIO_InitStruct);

  /*Configure GPIO pins : NCS_MEMS_SPI_Pin CSX_Pin OTG_FS_PSO_Pin */
  GPIO_InitStruct.Pin = NCS_MEMS_SPI_Pin|CSX_Pin|OTG_FS_PSO_Pin;
  GPIO_InitStruct.Mode = GPIO_MODE_OUTPUT_PP;
  GPIO_InitStruct.Pull = GPIO_NOPULL;
  GPIO_InitStruct.Speed = GPIO_SPEED_FREQ_LOW;
  HAL_GPIO_Init(GPIOC, &GPIO_InitStruct);

  /*Configure GPIO pins : B1_Pin MEMS_INT1_Pin MEMS_INT2_Pin TP_INT1_Pin */
  GPIO_InitStruct.Pin = B1_Pin|MEMS_INT1_Pin|MEMS_INT2_Pin|TP_INT1_Pin;
  GPIO_InitStruct.Mode = GPIO_MODE_EVT_RISING;
  GPIO_InitStruct.Pull = GPIO_NOPULL;
  HAL_GPIO_Init(GPIOA, &GPIO_InitStruct);

  /*Configure GPIO pins : B5_Pin VSYNC_Pin G2_Pin R4_Pin
                           R5_Pin */
  GPIO_InitStruct.Pin = B5_Pin|VSYNC_Pin|G2_Pin|R4_Pin
                          |R5_Pin;
  GPIO_InitStruct.Mode = GPIO_MODE_AF_PP;
  GPIO_InitStruct.Pull = GPIO_NOPULL;
  GPIO_InitStruct.Speed = GPIO_SPEED_FREQ_LOW;
  GPIO_InitStruct.Alternate = GPIO_AF14_LTDC;
  HAL_GPIO_Init(GPIOA, &GPIO_InitStruct);

  /*Configure GPIO pin : ACP_RST_Pin */
  GPIO_InitStruct.Pin = ACP_RST_Pin;
  GPIO_InitStruct.Mode = GPIO_MODE_OUTPUT_PP;
  GPIO_InitStruct.Pull = GPIO_NOPULL;
  GPIO_InitStruct.Speed = GPIO_SPEED_FREQ_LOW;
  HAL_GPIO_Init(ACP_RST_GPIO_Port, &GPIO_InitStruct);

  /*Configure GPIO pin : OTG_FS_OC_Pin */
  GPIO_InitStruct.Pin = OTG_FS_OC_Pin;
  GPIO_InitStruct.Mode = GPIO_MODE_EVT_RISING;
  GPIO_InitStruct.Pull = GPIO_NOPULL;
  HAL_GPIO_Init(OTG_FS_OC_GPIO_Port, &GPIO_InitStruct);

  /*Configure GPIO pins : R3_Pin R6_Pin */
  GPIO_InitStruct.Pin = R3_Pin|R6_Pin;
  GPIO_InitStruct.Mode = GPIO_MODE_AF_PP;
  GPIO_InitStruct.Pull = GPIO_NOPULL;
  GPIO_InitStruct.Speed = GPIO_SPEED_FREQ_LOW;
  GPIO_InitStruct.Alternate = GPIO_AF9_LTDC;
  HAL_GPIO_Init(GPIOB, &GPIO_InitStruct);

  /*Configure GPIO pin : BOOT1_Pin */
  GPIO_InitStruct.Pin = BOOT1_Pin;
  GPIO_InitStruct.Mode = GPIO_MODE_INPUT;
  GPIO_InitStruct.Pull = GPIO_NOPULL;
  HAL_GPIO_Init(BOOT1_GPIO_Port, &GPIO_InitStruct);

  /*Configure GPIO pins : A10_Pin A11_Pin BA0_Pin BA1_Pin
                           SDCLK_Pin SDNCAS_Pin */
  GPIO_InitStruct.Pin = A10_Pin|A11_Pin|BA0_Pin|BA1_Pin
                          |SDCLK_Pin|SDNCAS_Pin;
  GPIO_InitStruct.Mode = GPIO_MODE_AF_PP;
  GPIO_InitStruct.Pull = GPIO_NOPULL;
  GPIO_InitStruct.Speed = GPIO_SPEED_FREQ_VERY_HIGH;
  GPIO_InitStruct.Alternate = GPIO_AF12_FMC;
  HAL_GPIO_Init(GPIOG, &GPIO_InitStruct);

  /*Configure GPIO pins : D4_Pin D5_Pin D6_Pin D7_Pin
                           D8_Pin D9_Pin D10_Pin D11_Pin
                           D12_Pin NBL0_Pin NBL1_Pin */
  GPIO_InitStruct.Pin = D4_Pin|D5_Pin|D6_Pin|D7_Pin
                          |D8_Pin|D9_Pin|D10_Pin|D11_Pin
                          |D12_Pin|NBL0_Pin|NBL1_Pin;
  GPIO_InitStruct.Mode = GPIO_MODE_AF_PP;
  GPIO_InitStruct.Pull = GPIO_NOPULL;
  GPIO_InitStruct.Speed = GPIO_SPEED_FREQ_VERY_HIGH;
  GPIO_InitStruct.Alternate = GPIO_AF12_FMC;
  HAL_GPIO_Init(GPIOE, &GPIO_InitStruct);

  /*Configure GPIO pins : G4_Pin G5_Pin B6_Pin B7_Pin */
  GPIO_InitStruct.Pin = G4_Pin|G5_Pin|B6_Pin|B7_Pin;
  GPIO_InitStruct.Mode = GPIO_MODE_AF_PP;
  GPIO_InitStruct.Pull = GPIO_NOPULL;
  GPIO_InitStruct.Speed = GPIO_SPEED_FREQ_LOW;
  GPIO_InitStruct.Alternate = GPIO_AF14_LTDC;
  HAL_GPIO_Init(GPIOB, &GPIO_InitStruct);

  /*Configure GPIO pins : OTG_HS_ID_Pin OTG_HS_DM_Pin OTG_HS_DP_Pin */
  GPIO_InitStruct.Pin = OTG_HS_ID_Pin|OTG_HS_DM_Pin|OTG_HS_DP_Pin;
  GPIO_InitStruct.Mode = GPIO_MODE_AF_PP;
  GPIO_InitStruct.Pull = GPIO_NOPULL;
  GPIO_InitStruct.Speed = GPIO_SPEED_FREQ_LOW;
  GPIO_InitStruct.Alternate = GPIO_AF12_OTG_HS_FS;
  HAL_GPIO_Init(GPIOB, &GPIO_InitStruct);

  /*Configure GPIO pin : VBUS_HS_Pin */
  GPIO_InitStruct.Pin = VBUS_HS_Pin;
  GPIO_InitStruct.Mode = GPIO_MODE_INPUT;
  GPIO_InitStruct.Pull = GPIO_NOPULL;
  HAL_GPIO_Init(VBUS_HS_GPIO_Port, &GPIO_InitStruct);

  /*Configure GPIO pins : D13_Pin D14_Pin D15_Pin D0_Pin
                           D1_Pin D2_Pin D3_Pin */
  GPIO_InitStruct.Pin = D13_Pin|D14_Pin|D15_Pin|D0_Pin
                          |D1_Pin|D2_Pin|D3_Pin;
  GPIO_InitStruct.Mode = GPIO_MODE_AF_PP;
  GPIO_InitStruct.Pull = GPIO_NOPULL;
  GPIO_InitStruct.Speed = GPIO_SPEED_FREQ_VERY_HIGH;
  GPIO_InitStruct.Alternate = GPIO_AF12_FMC;
  HAL_GPIO_Init(GPIOD, &GPIO_InitStruct);

  /*Configure GPIO pin : TE_Pin */
  GPIO_InitStruct.Pin = TE_Pin;
  GPIO_InitStruct.Mode = GPIO_MODE_INPUT;
  GPIO_InitStruct.Pull = GPIO_NOPULL;
  HAL_GPIO_Init(TE_GPIO_Port, &GPIO_InitStruct);

  /*Configure GPIO pins : RDX_Pin WRX_DCX_Pin */
  GPIO_InitStruct.Pin = RDX_Pin|WRX_DCX_Pin;
  GPIO_InitStruct.Mode = GPIO_MODE_OUTPUT_PP;
  GPIO_InitStruct.Pull = GPIO_NOPULL;
  GPIO_InitStruct.Speed = GPIO_SPEED_FREQ_LOW;
  HAL_GPIO_Init(GPIOD, &GPIO_InitStruct);

  /*Configure GPIO pins : R7_Pin DOTCLK_Pin B3_Pin */
  GPIO_InitStruct.Pin = R7_Pin|DOTCLK_Pin|B3_Pin;
  GPIO_InitStruct.Mode = GPIO_MODE_AF_PP;
  GPIO_InitStruct.Pull = GPIO_NOPULL;
  GPIO_InitStruct.Speed = GPIO_SPEED_FREQ_LOW;
  GPIO_InitStruct.Alternate = GPIO_AF14_LTDC;
  HAL_GPIO_Init(GPIOG, &GPIO_InitStruct);

  /*Configure GPIO pins : HSYNC_Pin G6_Pin R2_Pin */
  GPIO_InitStruct.Pin = HSYNC_Pin|G6_Pin|R2_Pin;
  GPIO_InitStruct.Mode = GPIO_MODE_AF_PP;
  GPIO_InitStruct.Pull = GPIO_NOPULL;
  GPIO_InitStruct.Speed = GPIO_SPEED_FREQ_LOW;
  GPIO_InitStruct.Alternate = GPIO_AF14_LTDC;
  HAL_GPIO_Init(GPIOC, &GPIO_InitStruct);

  /*Configure GPIO pin : I2C3_SDA_Pin */
  GPIO_InitStruct.Pin = I2C3_SDA_Pin;
  GPIO_InitStruct.Mode = GPIO_MODE_AF_OD;
  GPIO_InitStruct.Pull = GPIO_PULLUP;
  GPIO_InitStruct.Speed = GPIO_SPEED_FREQ_LOW;
  GPIO_InitStruct.Alternate = GPIO_AF4_I2C3;
  HAL_GPIO_Init(I2C3_SDA_GPIO_Port, &GPIO_InitStruct);

  /*Configure GPIO pin : I2C3_SCL_Pin */
  GPIO_InitStruct.Pin = I2C3_SCL_Pin;
  GPIO_InitStruct.Mode = GPIO_MODE_AF_OD;
  GPIO_InitStruct.Pull = GPIO_PULLUP;
  GPIO_InitStruct.Speed = GPIO_SPEED_FREQ_LOW;
  GPIO_InitStruct.Alternate = GPIO_AF4_I2C3;
  HAL_GPIO_Init(I2C3_SCL_GPIO_Port, &GPIO_InitStruct);

  /*Configure GPIO pins : G7_Pin B2_Pin */
  GPIO_InitStruct.Pin = G7_Pin|B2_Pin;
  GPIO_InitStruct.Mode = GPIO_MODE_AF_PP;
  GPIO_InitStruct.Pull = GPIO_NOPULL;
  GPIO_InitStruct.Speed = GPIO_SPEED_FREQ_LOW;
  GPIO_InitStruct.Alternate = GPIO_AF14_LTDC;
  HAL_GPIO_Init(GPIOD, &GPIO_InitStruct);

  /*Configure GPIO pins : G3_Pin B4_Pin */
  GPIO_InitStruct.Pin = G3_Pin|B4_Pin;
  GPIO_InitStruct.Mode = GPIO_MODE_AF_PP;
  GPIO_InitStruct.Pull = GPIO_NOPULL;
  GPIO_InitStruct.Speed = GPIO_SPEED_FREQ_LOW;
  GPIO_InitStruct.Alternate = GPIO_AF9_LTDC;
  HAL_GPIO_Init(GPIOG, &GPIO_InitStruct);

  /*Configure GPIO pins : LD3_Pin LD4_Pin */
  GPIO_InitStruct.Pin = LD3_Pin|LD4_Pin;
  GPIO_InitStruct.Mode = GPIO_MODE_OUTPUT_PP;
  GPIO_InitStruct.Pull = GPIO_NOPULL;
  GPIO_InitStruct.Speed = GPIO_SPEED_FREQ_LOW;
  HAL_GPIO_Init(GPIOG, &GPIO_InitStruct);

  /*Configure GPIO pins : SDCKE1_Pin SDNE1_Pin */
  GPIO_InitStruct.Pin = SDCKE1_Pin|SDNE1_Pin;
  GPIO_InitStruct.Mode = GPIO_MODE_AF_PP;
  GPIO_InitStruct.Pull = GPIO_NOPULL;
  GPIO_InitStruct.Speed = GPIO_SPEED_FREQ_VERY_HIGH;
  GPIO_InitStruct.Alternate = GPIO_AF12_FMC;
  HAL_GPIO_Init(GPIOB, &GPIO_InitStruct);

}

void Error_Handler(void)
{
  __disable_irq();
  while (1)
  {
  }
}
